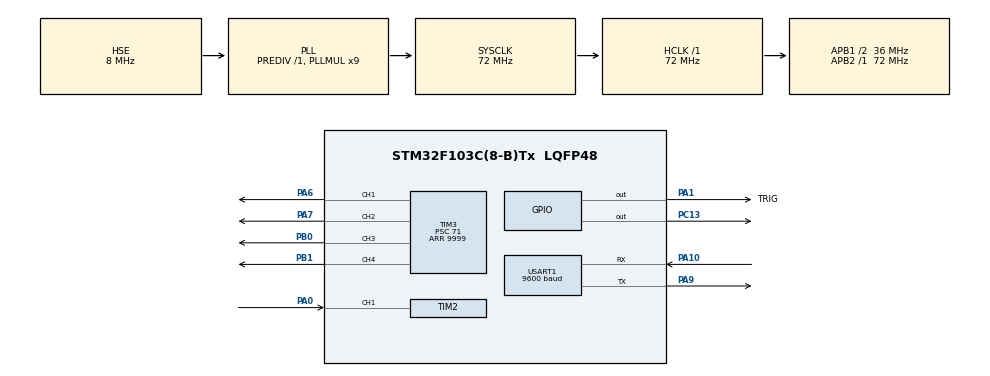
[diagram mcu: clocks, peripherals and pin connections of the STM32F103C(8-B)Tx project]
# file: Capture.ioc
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Dma.Request0=USART1_RX
Dma.Request1=USART1_TX
Dma.USART1_RX.0.Direction=DMA_PERIPH_TO_MEMORY
Dma.USART1_RX.0.Instance=DMA1_Channel5
Dma.USART1_RX.0.MemDataAlignment=DMA_MDATAALIGN_BYTE
Dma.USART1_RX.0.MemInc=DMA_MINC_ENABLE
Dma.USART1_RX.0.Mode=DMA_NORMAL
Dma.USART1_RX.0.PeriphDataAlignment=DMA_PDATAALIGN_BYTE
Dma.USART1_RX.0.PeriphInc=DMA_PINC_DISABLE
Dma.USART1_RX.0.Priority=DMA_PRIORITY_LOW
Dma.USART1_TX.1.Direction=DMA_MEMORY_TO_PERIPH
Dma.USART1_TX.1.Instance=DMA1_Channel4
Dma.USART1_TX.1.MemDataAlignment=DMA_MDATAALIGN_BYTE
Dma.USART1_TX.1.MemInc=DMA_MINC_ENABLE
Dma.USART1_TX.1.Mode=DMA_NORMAL
Dma.USART1_TX.1.PeriphDataAlignment=DMA_PDATAALIGN_BYTE
Dma.USART1_TX.1.PeriphInc=DMA_PINC_DISABLE
Dma.USART1_TX.1.Priority=DMA_PRIORITY_LOW
Mcu.Family=STM32F1
Mcu.Name=STM32F103C(8-B)Tx
Mcu.Package=LQFP48
NVIC.DMA1_Channel4_IRQn=true\:0\:0\:false\:false\:true\:false\:true\:true
NVIC.DMA1_Channel5_IRQn=true\:0\:0\:false\:false\:true\:false\:true\:true
NVIC.PriorityGroup=NVIC_PRIORITYGROUP_4
NVIC.TIM2_IRQn=true\:0\:0\:true\:false\:true\:true\:true\:true
NVIC.USART1_IRQn=true\:0\:0\:false\:false\:true\:true\:true\:true
PA0-WKUP.Signal=S_TIM2_CH1_ETR
PA1.GPIO_Label=TRIG
PA1.Signal=GPIO_Output
PA10.Mode=Asynchronous
PA10.Signal=USART1_RX
PA13.Mode=Serial_Wire
PA13.Signal=SYS_JTMS-SWDIO
PA14.Mode=Serial_Wire
PA14.Signal=SYS_JTCK-SWCLK
PA6.Signal=S_TIM3_CH1
PA7.Signal=S_TIM3_CH2
PA9.Mode=Asynchronous
PA9.Signal=USART1_TX
PB0.Signal=S_TIM3_CH3
PB1.Signal=S_TIM3_CH4
PC13-TAMPER-RTC.Signal=GPIO_Output
PD0-OSC_IN.Mode=HSE-External-Oscillator
PD0-OSC_IN.Signal=RCC_OSC_IN
PD1-OSC_OUT.Mode=HSE-External-Oscillator
PD1-OSC_OUT.Signal=RCC_OSC_OUT
ProjectManager.HeapSize=0x200
ProjectManager.StackSize=0x400
ProjectManager.TargetToolchain=MDK-ARM V5
RCC.AHBFreq_Value=72000000
RCC.APB1CLKDivider=RCC_HCLK_DIV2
RCC.APB1Freq_Value=36000000
RCC.APB1TimFreq_Value=72000000
RCC.APB2Freq_Value=72000000
RCC.APB2TimFreq_Value=72000000
RCC.HCLKFreq_Value=72000000
RCC.PLLMUL=RCC_PLL_MUL9
RCC.PLLSourceVirtual=RCC_PLLSOURCE_HSE
RCC.SYSCLKFreq_VALUE=72000000
RCC.SYSCLKSource=RCC_SYSCLKSOURCE_PLLCLK
RCC.USBFreq_Value=72000000
SH.S_TIM2_CH1_ETR.0=TIM2_CH1,Input_Capture1_from_TI1
SH.S_TIM3_CH1.0=TIM3_CH1,PWM Generation1 CH1
SH.S_TIM3_CH2.0=TIM3_CH2,PWM Generation2 CH2
SH.S_TIM3_CH3.0=TIM3_CH3,PWM Generation3 CH3
SH.S_TIM3_CH4.0=TIM3_CH4,PWM Generation4 CH4
TIM2.AutoReloadPreload=TIM_AUTORELOAD_PRELOAD_ENABLE
TIM2.Channel-Input_Capture1_from_TI1=TIM_CHANNEL_1
TIM2.Period=99
TIM2.Prescaler=71
TIM3.AutoReloadPreload=TIM_AUTORELOAD_PRELOAD_ENABLE
TIM3.Channel-PWM\ Generation1\ CH1=TIM_CHANNEL_1
TIM3.Channel-PWM\ Generation2\ CH2=TIM_CHANNEL_2
TIM3.Channel-PWM\ Generation3\ CH3=TIM_CHANNEL_3
TIM3.Channel-PWM\ Generation4\ CH4=TIM_CHANNEL_4
TIM3.Period=9999
TIM3.Prescaler=71
TIM3.Pulse-PWM\ Generation1\ CH1=0
USART1.BaudRate=9600
USART1.VirtualMode=VM_ASYNC
VP_TIM2_VS_ClockSourceINT.Mode=Internal
VP_TIM3_VS_ClockSourceINT.Mode=Internal
board=custom

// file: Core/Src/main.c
/* USER CODE BEGIN Header */
/**
  ******************************************************************************
  * @file           : main.c
  * @brief          : Main program body
  ******************************************************************************
  * @attention
  *
  * Copyright (c) 2022 STMicroelectronics.
  * All rights reserved.
  *
  * This software is licensed under terms that can be found in the LICENSE file
  * in the root directory of this software component.
  * If no LICENSE file comes with this software, it is provided AS-IS.
  *
  ******************************************************************************
  */
/* USER CODE END Header */
#include "main.h"
#include "dma.h"
#include "tim.h"
#include "usart.h"
#include "gpio.h"

/* USER CODE BEGIN Includes */
#include "stdio.h"
#include <string.h>
/* USER CODE END Includes */

/* USER CODE BEGIN PTD */
void forward_ref()		//向前，左前右前
		{
			__HAL_TIM_SetCompare(&htim3, TIM_CHANNEL_1,2100);//左前
			__HAL_TIM_SetCompare(&htim3, TIM_CHANNEL_3,2000);//右前
			__HAL_TIM_SetCompare(&htim3, TIM_CHANNEL_2,0);
			__HAL_TIM_SetCompare(&htim3, TIM_CHANNEL_4,0);
		}
		void back_ref()			//向后，左后右后
		{
			__HAL_TIM_SetCompare(&htim3, TIM_CHANNEL_3,0);//右后
			__HAL_TIM_SetCompare(&htim3, TIM_CHANNEL_1,0);
			__HAL_TIM_SetCompare(&htim3, TIM_CHANNEL_2,2000);//左后
			__HAL_TIM_SetCompare(&htim3, TIM_CHANNEL_4,2000);
		}
		void left_ref()			//左转，左后右前
		{
			__HAL_TIM_SetCompare(&htim3, TIM_CHANNEL_4,0);
			__HAL_TIM_SetCompare(&htim3, TIM_CHANNEL_1,0);
			__HAL_TIM_SetCompare(&htim3, TIM_CHANNEL_2,1300);
			__HAL_TIM_SetCompare(&htim3, TIM_CHANNEL_3,1800);
		}
		void right_ref()		//右转，左前右后
		{
			__HAL_TIM_SetCompare(&htim3, TIM_CHANNEL_2,0);
			__HAL_TIM_SetCompare(&htim3, TIM_CHANNEL_3,0);
			__HAL_TIM_SetCompare(&htim3, TIM_CHANNEL_1,2000);
			__HAL_TIM_SetCompare(&htim3, TIM_CHANNEL_4,0);
		}
		void stop_ref()			//占空比都为0
		{
			__HAL_TIM_SetCompare(&htim3, TIM_CHANNEL_1,0);
			__HAL_TIM_SetCompare(&htim3, TIM_CHANNEL_2,0);
			__HAL_TIM_SetCompare(&htim3, TIM_CHANNEL_3,0);
			__HAL_TIM_SetCompare(&htim3, TIM_CHANNEL_4,0);
		}
/* USER CODE END PTD */

/* USER CODE BEGIN PM */
	uint32_t capture_Buf[3] = {0};
	uint8_t capture_Cnt = 0;
	uint8_t overload_Cnt = 0;
	uint32_t high_time;
	uint32_t low_time;
	uint8_t a[1];
	double HL_time;
	double LL_time;
	double fre;
	double duty;
	float Distance;
	uint8_t data[20];
	uint8_t receive_buff[255]={0};
	#define  BUFFER_SIZE  (255)
extern DMA_HandleTypeDef hdma_usart1_rx;
extern DMA_HandleTypeDef hdma_usart1_tx;
extern UART_HandleTypeDef huart1;
/* USER CODE END PM */

void SystemClock_Config(void);

/* USER CODE BEGIN 0 */
	int fputc(int ch,FILE *f)
	{
		uint8_t temp[1] = {ch};
		HAL_UART_Transmit(&huart1, temp, 1, 2);
		return ch;
	}
	int fgetc(FILE *f)
	{
		uint8_t ch=0;
		HAL_UART_Receive  (&huart1 ,(uint8_t *)&ch,1,0xffff);
		return ch;
	}

	void delay_us(uint16_t us)
{
	__HAL_TIM_SET_COUNTER (&htim2 ,0);
	while(__HAL_TIM_GET_COUNTER (&htim2 )<us );
}

uint16_t HCSR04_Read(void )
{
	HAL_GPIO_WritePin (TRIG_GPIO_Port ,TRIG_Pin ,GPIO_PIN_RESET );
	delay_us (2);
	HAL_GPIO_WritePin (TRIG_GPIO_Port ,TRIG_Pin ,GPIO_PIN_SET );
	delay_us (12);
	HAL_GPIO_WritePin (TRIG_GPIO_Port ,TRIG_Pin ,GPIO_PIN_RESET );
	HAL_Delay (100);
}
/* USER CODE END 0 */

int main(void)
{

  /* MCU Configuration--------------------------------------------------------*/

  /* Reset of all peripherals, Initializes the Flash interface and the Systick. */
  HAL_Init();

  /* Configure the system clock */
  SystemClock_Config();

  /* Initialize all configured peripherals */
  MX_GPIO_Init();
  MX_DMA_Init();
  MX_TIM2_Init();
  MX_TIM3_Init();
  MX_USART1_UART_Init();
  /* USER CODE BEGIN 2 */
	HAL_TIM_Base_Start_IT(&htim2); //开启定时器2中断
	HAL_TIM_Base_Start(&htim3);
	__HAL_UART_ENABLE_IT(&huart1,UART_IT_IDLE);//空闲中断使能
  HAL_UART_Receive_DMA(&huart1, (uint8_t*)receive_buff, 255);

	HAL_TIM_PWM_Start(&htim3, TIM_CHANNEL_1); //开PWM
	HAL_TIM_PWM_Start(&htim3, TIM_CHANNEL_2); //开PWM
	HAL_TIM_PWM_Start(&htim3, TIM_CHANNEL_3); //开PWM
	HAL_TIM_PWM_Start(&htim3, TIM_CHANNEL_4); //开PWM

	__HAL_TIM_SET_CAPTUREPOLARITY(&htim2, TIM_CHANNEL_1,TIM_INPUTCHANNELPOLARITY_RISING);//在运行时设置输入极性  检测到上升沿了才会进入输入捕获中断回调函数

	HAL_TIM_IC_Start_IT(&htim2,TIM_CHANNEL_1);//在中断模式下启动TIM Input Capture测量。

  /* USER CODE END 2 */

  /* Infinite loop */
  /* USER CODE BEGIN WHILE */
  while (1)
  {
		HCSR04_Read();

//		printf("频率: %7.3lfHz, 占空比： %4.1lf%%, 高电平时间: %7.3lf ms, 低电平时间：%7.3lf ms\r\n", fre, duty, HL_time, LL_time);
//		printf("distance = %.3fcm \r\n",Distance);

    /* USER CODE END WHILE */

  }
}

void SystemClock_Config(void)
{
  RCC_OscInitTypeDef RCC_OscInitStruct = {0};
  RCC_ClkInitTypeDef RCC_ClkInitStruct = {0};

  /** Initializes the RCC Oscillators according to the specified parameters
  * in the RCC_OscInitTypeDef structure.
  */
  RCC_OscInitStruct.OscillatorType = RCC_OSCILLATORTYPE_HSE;
  RCC_OscInitStruct.HSEState = RCC_HSE_ON;
  RCC_OscInitStruct.HSEPredivValue = RCC_HSE_PREDIV_DIV1;
  RCC_OscInitStruct.HSIState = RCC_HSI_ON;
  RCC_OscInitStruct.PLL.PLLState = RCC_PLL_ON;
  RCC_OscInitStruct.PLL.PLLSource = RCC_PLLSOURCE_HSE;
  RCC_OscInitStruct.PLL.PLLMUL = RCC_PLL_MUL9;
  if (HAL_RCC_OscConfig(&RCC_OscInitStruct) != HAL_OK)
  {
    Error_Handler();
  }

  /** Initializes the CPU, AHB and APB buses clocks
  */
  RCC_ClkInitStruct.ClockType = RCC_CLOCKTYPE_HCLK|RCC_CLOCKTYPE_SYSCLK
                              |RCC_CLOCKTYPE_PCLK1|RCC_CLOCKTYPE_PCLK2;
  RCC_ClkInitStruct.SYSCLKSource = RCC_SYSCLKSOURCE_PLLCLK;
  RCC_ClkInitStruct.AHBCLKDivider = RCC_SYSCLK_DIV1;
  RCC_ClkInitStruct.APB1CLKDivider = RCC_HCLK_DIV2;
  RCC_ClkInitStruct.APB2CLKDivider = RCC_HCLK_DIV1;

  if (HAL_RCC_ClockConfig(&RCC_ClkInitStruct, FLASH_LATENCY_2) != HAL_OK)
  {
    Error_Handler();
  }
}

/* USER CODE BEGIN 4 */

void HAL_TIM_PeriodElapsedCallback(TIM_HandleTypeDef *htim)
{
	if(htim -> Instance == htim2.Instance)
	{
		overload_Cnt++;
	}
}
void HAL_TIM_IC_CaptureCallback(TIM_HandleTypeDef *htim)
{
	if(htim -> Instance == htim2.Instance)
	{
		switch(capture_Cnt)
		{
			case 0:
				capture_Buf[0] = HAL_TIM_ReadCapturedValue(&htim2, TIM_CHANNEL_1);
			  __HAL_TIM_SET_CAPTUREPOLARITY(&htim2, TIM_CHANNEL_1, TIM_ICPOLARITY_FALLING);
			  overload_Cnt = 0;
			  capture_Cnt++;
				break;
			case 1:
				capture_Buf[1] = HAL_TIM_ReadCapturedValue(&htim2,TIM_CHANNEL_1);
		  	high_time =  (capture_Buf[1] - capture_Buf[0]) + overload_Cnt * 100;
				overload_Cnt = 0;
				__HAL_TIM_SET_CAPTUREPOLARITY(&htim2, TIM_CHANNEL_1, TIM_ICPOLARITY_RISING);
				capture_Cnt++;
		    break;
			case 2:
				capture_Buf[2] = HAL_TIM_ReadCapturedValue(&htim2, TIM_CHANNEL_1);
			  HAL_TIM_IC_Stop_IT(&htim2,TIM_CHANNEL_1);//中断模式下停止输入捕获的测量

				low_time = (capture_Buf[2] - capture_Buf[1]) + overload_Cnt * 100;

				HL_time = high_time * 0.001;
			  LL_time = low_time * 0.001;
				fre = 1000/(HL_time + LL_time);
				duty = HL_time/(HL_time + LL_time) * 100;

//		  	__HAL_TIM_SET_COUNTER (&htim2, 0);//计数器内记的值变为0
	     Distance = high_time *0.017;
			if(Distance<20)
		{
			stop_ref();
		}
				capture_Cnt = 0;
			  overload_Cnt = 0;
				__HAL_TIM_SET_CAPTUREPOLARITY(&htim2, TIM_CHANNEL_1, TIM_INPUTCHANNELPOLARITY_RISING);
				HAL_TIM_IC_Start_IT(&htim2,TIM_CHANNEL_1);////在中断模式下启动TIM Input Capture测量。
			  break;
		}
	}
}
void HAL_UART_IDLECallback(UART_HandleTypeDef *huart)
{

	if(huart->Instance==USART1)
 {
    HAL_UART_DMAStop(&huart1);                                                     //停止本次DMA传输

    uint8_t data_length  = BUFFER_SIZE -   __HAL_DMA_GET_COUNTER(&hdma_usart1_rx);

	switch(receive_buff[0])
			{
				case 'f':forward_ref();break;
				case 'b':back_ref();break;
				case 's':stop_ref();break;
				case 'l':left_ref();break;
				case 'r':right_ref();break;
				 receive_buff[0] = 0;
			}
    printf("Receive Data(length = %d): ",data_length);

    HAL_UART_Transmit(&huart1,(uint8_t *)receive_buff,data_length,1000);                       //测试函数：将接收到的数据打印出去
    printf("\r\n");

    memset(receive_buff,0,data_length);                                            //清零接收缓冲区
    data_length = 0;
    HAL_UART_Receive_DMA(&huart1, (uint8_t*)receive_buff, 255);                    //重启开始DMA传输 每次255字节数据

 }
}

/* USER CODE END 4 */

void Error_Handler(void)
{
  __disable_irq();
  while (1)
  {
  }
}
